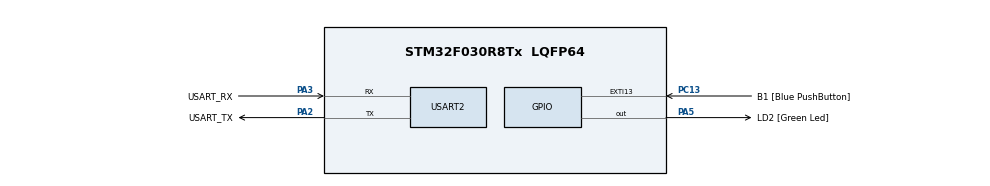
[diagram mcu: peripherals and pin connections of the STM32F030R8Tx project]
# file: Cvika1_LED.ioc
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Mcu.Family=STM32F0
Mcu.Name=STM32F030R8Tx
Mcu.Package=LQFP64
PA13.GPIO_Label=TMS
PA13.Mode=Serial_Wire
PA13.Signal=SYS_SWDIO
PA14.GPIO_Label=TCK
PA14.Mode=Serial_Wire
PA14.Signal=SYS_SWCLK
PA2.GPIO_Label=USART_TX
PA2.GPIO_Mode=GPIO_MODE_AF_PP
PA2.GPIO_PuPd=GPIO_NOPULL
PA2.GPIO_Speed=GPIO_SPEED_FREQ_LOW
PA2.Mode=Asynchronous
PA2.Signal=USART2_TX
PA3.GPIO_Label=USART_RX
PA3.GPIO_Mode=GPIO_MODE_AF_PP
PA3.GPIO_PuPd=GPIO_NOPULL
PA3.GPIO_Speed=GPIO_SPEED_FREQ_LOW
PA3.Mode=Asynchronous
PA3.Signal=USART2_RX
PA5.GPIO_Label=LD2 [Green Led]
PA5.GPIO_Mode=GPIO_MODE_OUTPUT_PP
PA5.GPIO_PuPd=GPIO_NOPULL
PA5.GPIO_Speed=GPIO_SPEED_FREQ_LOW
PA5.Signal=GPIO_Output
PC13.GPIO_Label=B1 [Blue PushButton]
PC13.GPIO_ModeDefaultEXTI=GPIO_MODE_IT_FALLING
PC13.Signal=GPXTI13
PC14-OSC32_IN.Mode=LSE-External-Oscillator
PC14-OSC32_IN.Signal=RCC_OSC32_IN
PC15-OSC32_OUT.Mode=LSE-External-Oscillator
PC15-OSC32_OUT.Signal=RCC_OSC32_OUT
PF0-OSC_IN.Mode=HSE-External-Clock-Source
PF0-OSC_IN.Signal=RCC_OSC_IN
PF1-OSC_OUT.Signal=RCC_OSC_OUT
ProjectManager.HeapSize=0x200
ProjectManager.StackSize=0x400
ProjectManager.TargetToolchain=STM32CubeIDE
RCC.AHBFreq_Value=48000000
RCC.APB1Freq_Value=48000000
RCC.APB1TimFreq_Value=48000000
RCC.HCLKFreq_Value=48000000
RCC.PLLMUL=RCC_PLL_MUL12
RCC.SYSCLKFreq_VALUE=48000000
RCC.SYSCLKSource=RCC_SYSCLKSOURCE_PLLCLK
USART2.VirtualMode-Asynchronous=VM_ASYNC
board=NUCLEO-F030R8

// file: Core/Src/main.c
/* USER CODE BEGIN Header */
/**
  ******************************************************************************
  * @file           : main.c
  * @brief          : Main program body
  ******************************************************************************
  * @attention
  *
  * Copyright (c) 2024 STMicroelectronics.
  * All rights reserved.
  *
  * This software is licensed under terms that can be found in the LICENSE file
  * in the root directory of this software component.
  * If no LICENSE file comes with this software, it is provided AS-IS.
  *
  ******************************************************************************
  */
/* USER CODE END Header */
#include "main.h"
#include <stdint.h>

void SystemClock_Config(void);
static void MX_GPIO_Init(void);
static void MX_USART2_UART_Init(void);

int main(void)
{

  /* MCU Configuration--------------------------------------------------------*/

  /* Reset of all peripherals, Initializes the Flash interface and the Systick. */
  LL_APB1_GRP2_EnableClock(LL_APB1_GRP2_PERIPH_SYSCFG);
  LL_APB1_GRP1_EnableClock(LL_APB1_GRP1_PERIPH_PWR);

  /* Configure the system clock */
  SystemClock_Config();

  /* Initialize all configured peripherals */
  MX_GPIO_Init();
  MX_USART2_UART_Init();

  /* Infinite loop */
  /* USER CODE BEGIN WHILE */
  while (1)
  {
	  uint32_t sequence = 0b10101001110111011100101010000000;
	  uint8_t array[32] = {1,0,1,0,1,0,0,1,1,1,0,1,1,1,0,1,1,1,0,0,1,0,1,0,1,0,0,0,0,0,0,0};

	  for (int i= 0; i < 31; i++)
	  {
		  if (sequence &(1uL << 31))
		  {

			  LL_GPIO_SetOutputPin(LD2_GPIO_Port, LD2_Pin);
		  }
		  else
		  {
			  LL_GPIO_ResetOutputPin(LD2_GPIO_Port, LD2_Pin);
		  }
		  LL_mDelay(200);
		  sequence = sequence <<1;
	  }

	  //2nd approach
	  for (int i = 0; i < 31; i ++)
	  {
		  if (array[i] == 1)
		  {
			  LL_GPIO_SetOutputPin(LD2_GPIO_Port, LD2_Pin);
		  }
		  else
		  {
			  LL_GPIO_ResetOutputPin(LD2_GPIO_Port, LD2_Pin);
		  }
		  LL_mDelay(200);
	  }

    /* USER CODE END WHILE */

  }
}

void SystemClock_Config(void)
{
  LL_FLASH_SetLatency(LL_FLASH_LATENCY_1);
  while(LL_FLASH_GetLatency() != LL_FLASH_LATENCY_1)
  {
  }
  LL_RCC_HSI_Enable();

   /* Wait till HSI is ready */
  while(LL_RCC_HSI_IsReady() != 1)
  {

  }
  LL_RCC_HSI_SetCalibTrimming(16);
  LL_RCC_PLL_ConfigDomain_SYS(LL_RCC_PLLSOURCE_HSI_DIV_2, LL_RCC_PLL_MUL_12);
  LL_RCC_PLL_Enable();

   /* Wait till PLL is ready */
  while(LL_RCC_PLL_IsReady() != 1)
  {

  }
  LL_RCC_SetAHBPrescaler(LL_RCC_SYSCLK_DIV_1);
  LL_RCC_SetAPB1Prescaler(LL_RCC_APB1_DIV_1);
  LL_RCC_SetSysClkSource(LL_RCC_SYS_CLKSOURCE_PLL);

   /* Wait till System clock is ready */
  while(LL_RCC_GetSysClkSource() != LL_RCC_SYS_CLKSOURCE_STATUS_PLL)
  {

  }
  LL_Init1msTick(48000000);
  LL_SetSystemCoreClock(48000000);
}

static void MX_USART2_UART_Init(void)
{

  LL_USART_InitTypeDef USART_InitStruct = {0};

  LL_GPIO_InitTypeDef GPIO_InitStruct = {0};

  /* Peripheral clock enable */
  LL_APB1_GRP1_EnableClock(LL_APB1_GRP1_PERIPH_USART2);

  LL_AHB1_GRP1_EnableClock(LL_AHB1_GRP1_PERIPH_GPIOA);
  /**USART2 GPIO Configuration
  PA2   ------> USART2_TX
  PA3   ------> USART2_RX
  */
  GPIO_InitStruct.Pin = USART_TX_Pin;
  GPIO_InitStruct.Mode = LL_GPIO_MODE_ALTERNATE;
  GPIO_InitStruct.Speed = LL_GPIO_SPEED_FREQ_LOW;
  GPIO_InitStruct.OutputType = LL_GPIO_OUTPUT_PUSHPULL;
  GPIO_InitStruct.Pull = LL_GPIO_PULL_NO;
  GPIO_InitStruct.Alternate = LL_GPIO_AF_1;
  LL_GPIO_Init(USART_TX_GPIO_Port, &GPIO_InitStruct);

  GPIO_InitStruct.Pin = USART_RX_Pin;
  GPIO_InitStruct.Mode = LL_GPIO_MODE_ALTERNATE;
  GPIO_InitStruct.Speed = LL_GPIO_SPEED_FREQ_LOW;
  GPIO_InitStruct.OutputType = LL_GPIO_OUTPUT_PUSHPULL;
  GPIO_InitStruct.Pull = LL_GPIO_PULL_NO;
  GPIO_InitStruct.Alternate = LL_GPIO_AF_1;
  LL_GPIO_Init(USART_RX_GPIO_Port, &GPIO_InitStruct);

  USART_InitStruct.BaudRate = 38400;
  USART_InitStruct.DataWidth = LL_USART_DATAWIDTH_8B;
  USART_InitStruct.StopBits = LL_USART_STOPBITS_1;
  USART_InitStruct.Parity = LL_USART_PARITY_NONE;
  USART_InitStruct.TransferDirection = LL_USART_DIRECTION_TX_RX;
  USART_InitStruct.HardwareFlowControl = LL_USART_HWCONTROL_NONE;
  USART_InitStruct.OverSampling = LL_USART_OVERSAMPLING_16;
  LL_USART_Init(USART2, &USART_InitStruct);
  LL_USART_DisableIT_CTS(USART2);
  LL_USART_ConfigAsyncMode(USART2);
  LL_USART_Enable(USART2);

}

static void MX_GPIO_Init(void)
{
  LL_EXTI_InitTypeDef EXTI_InitStruct = {0};
  LL_GPIO_InitTypeDef GPIO_InitStruct = {0};

  /* GPIO Ports Clock Enable */
  LL_AHB1_GRP1_EnableClock(LL_AHB1_GRP1_PERIPH_GPIOC);
  LL_AHB1_GRP1_EnableClock(LL_AHB1_GRP1_PERIPH_GPIOF);
  LL_AHB1_GRP1_EnableClock(LL_AHB1_GRP1_PERIPH_GPIOA);

  /**/
  LL_GPIO_ResetOutputPin(LD2_GPIO_Port, LD2_Pin);

  /**/
  LL_SYSCFG_SetEXTISource(LL_SYSCFG_EXTI_PORTC, LL_SYSCFG_EXTI_LINE13);

  /**/
  LL_GPIO_SetPinPull(B1_GPIO_Port, B1_Pin, LL_GPIO_PULL_NO);

  /**/
  LL_GPIO_SetPinMode(B1_GPIO_Port, B1_Pin, LL_GPIO_MODE_INPUT);

  /**/
  EXTI_InitStruct.Line_0_31 = LL_EXTI_LINE_13;
  EXTI_InitStruct.LineCommand = ENABLE;
  EXTI_InitStruct.Mode = LL_EXTI_MODE_IT;
  EXTI_InitStruct.Trigger = LL_EXTI_TRIGGER_FALLING;
  LL_EXTI_Init(&EXTI_InitStruct);

  /**/
  GPIO_InitStruct.Pin = LD2_Pin;
  GPIO_InitStruct.Mode = LL_GPIO_MODE_OUTPUT;
  GPIO_InitStruct.Speed = LL_GPIO_SPEED_FREQ_LOW;
  GPIO_InitStruct.OutputType = LL_GPIO_OUTPUT_PUSHPULL;
  GPIO_InitStruct.Pull = LL_GPIO_PULL_NO;
  LL_GPIO_Init(LD2_GPIO_Port, &GPIO_InitStruct);

}

void Error_Handler(void)
{
  __disable_irq();
  while (1)
  {
  }
}
